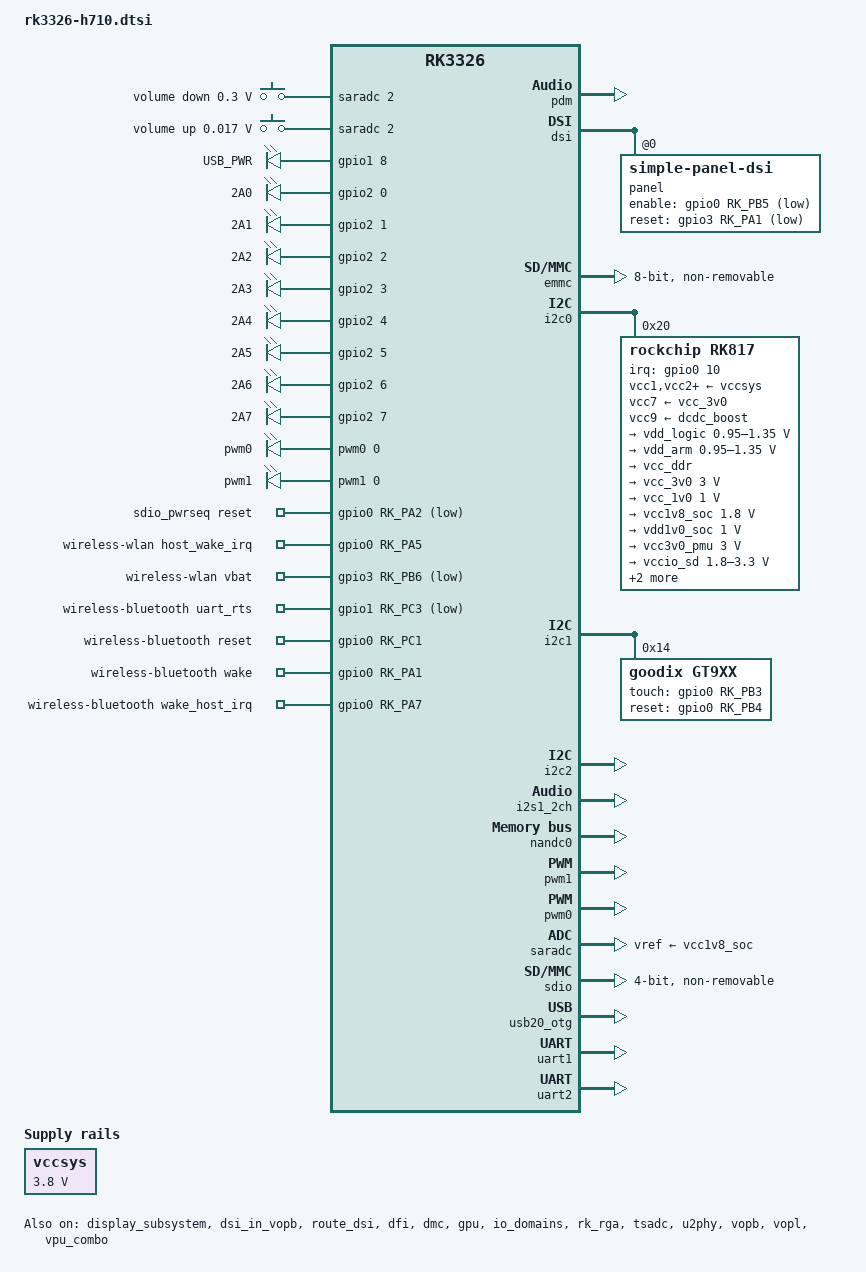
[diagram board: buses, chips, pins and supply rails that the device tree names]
// SPDX-License-Identifier: (GPL-2.0+ OR MIT)
/*
 * Copyright (c) 2017 Fuzhou Rockchip Electronics Co., Ltd
 */

/dts-v1/;
#include <dt-bindings/display/drm_mipi_dsi.h>
#include <dt-bindings/gpio/gpio.h>
#include <dt-bindings/input/input.h>
#include <dt-bindings/pinctrl/rockchip.h>
#include <dt-bindings/sensor-dev.h>
#include "rk3326.dtsi"
//#include "rk3326-863-cif-sensor.dtsi"
#include "px30-android.dtsi"

/ {
	adc-keys {
		compatible = "adc-keys";
		io-channels = <&saradc 2>;
		io-channel-names = "buttons";
		poll-interval = <100>;
		keyup-threshold-microvolt = <1800000>;

		vol-down-key {
			linux,code = <KEY_VOLUMEDOWN>;
			label = "volume down";
			press-threshold-microvolt = <300000>;
		};

		vol-up-key {
			linux,code = <KEY_VOLUMEUP>;
			label = "volume up";
			press-threshold-microvolt = <17000>;
		};
	};

	leds {
                status = "okay";
                compatible = "gpio-leds";
		pinctrl-names = "default";
                pinctrl-0 = <&h710_gpio>;

                USB_PWR {
                        gpios = <&gpio1 8 GPIO_ACTIVE_HIGH>;
                        default-state = "on";
                };

		2A0 {
			gpios = <&gpio2 0 GPIO_ACTIVE_HIGH>;
                        default-state = "on";
		};
		2A1 {
			gpios = <&gpio2 1 GPIO_ACTIVE_HIGH>;
                        default-state = "on";
		};
		2A2 {
			gpios = <&gpio2 2 GPIO_ACTIVE_HIGH>;
                        default-state = "on";
		};
		2A3 {
			gpios = <&gpio2 3 GPIO_ACTIVE_HIGH>;
                        default-state = "on";
		};
		2A4 {
			gpios = <&gpio2 4 GPIO_ACTIVE_HIGH>;
                        default-state = "on";
		};
		2A5 {
			gpios = <&gpio2 5 GPIO_ACTIVE_HIGH>;
                        default-state = "on";
		};
		2A6 {
			gpios = <&gpio2 6 GPIO_ACTIVE_HIGH>;
                        default-state = "on";
		};
		2A7 {
			gpios = <&gpio2 7 GPIO_ACTIVE_HIGH>;
                        default-state = "on";
		};
	};

	pwmleds {
        	compatible = "pwm-leds";
        	led1 {
            		label = "pwm0";
            		pwms = <&pwm0 0 25000 0>;
            		max-brightness = <255>;
        	};
		led2 {
			label = "pwm1";
                        pwms = <&pwm1 0 25000 0>;
                        max-brightness = <255>;
		};
    	};

	backlight: backlight {
		compatible = "pwm-backlight";
		pwms = <&pwm1 0 25000 0>;
		brightness-levels = <
			 0   10  10  11  11  12  12  13
			 13  14  14  15  15  16  16  17
			 17  18  18  19  20  21  22  23
			 24  25  26  27  28  29  30  31
			 32  33  34  35  36  37  38  39
			 40  41  42  43  44  45  46  47
			 48  49  50  51  52  53  54  55
			 56  57  58  59  60  61  62  63
			 64  65  66  67  68  69  70  71
			 72  73  74  75  76  77  78  79
			 80  81  82  83  84  85  86  87
			 88  89  90  91  92  93  94  95
			 96  97  98  99 100 101 102 103
			104 105 106 107 108 109 110 111
			112 113 114 115 116 117 118 119
			120 121 122 123 124 125 126 127
			128 129 130 131 132 133 134 135
			136 137 138 139 140 141 142 143
			144 145 146 147 148 149 150 151
			152 153 154 155 156 157 158 159
			160 161 162 163 164 165 166 167
			168 169 170 171 172 173 174 175
			176 177 178 179 180 181 182 183
			184 185 186 187 188 189 190 191
			192 193 194 195 196 197 198 199
			200 201 202 203 204 205 206 207
			208 209 210 211 212 213 214 215
			216 217 218 219 220 221 222 223
			224 225 226 227 228 229 230 231
			232 233 234 235 236 237 238 239
			240 241 242 243 244 245 246 247
			248 249 250 251 252 253 254 255>;
			default-brightness-level = <200>;
			enable-gpios = <&gpio3 6 GPIO_ACTIVE_HIGH>;
			status = "disabled";
	};

	charge-animation {
		compatible = "rockchip,uboot-charge";
		rockchip,uboot-charge-on = <1>;
		rockchip,android-charge-on = <0>;
		rockchip,uboot-low-power-voltage = <3500>;
		rockchip,screen-on-voltage = <3600>;
		status = "disabled";
	};

	rk817-sound {
		compatible = "simple-audio-card";
		simple-audio-card,format = "i2s";
		simple-audio-card,name = "rockchip-rk817-codec";
		simple-audio-card,mclk-fs = <256>;
		simple-audio-card,widgets =
			"Microphone", "Mic Jack",
			"Headphone", "Headphone Jack";
		simple-audio-card,routing =
			"Mic Jack", "MICBIAS1",
			"IN1P", "Mic Jack",
			"Headphone Jack", "HPOL",
			"Headphone Jack", "HPOR";
		simple-audio-card,dai-link@0 {
			format = "i2s";
			cpu {
				sound-dai = <&i2s1_2ch>;
			};
			codec {
				sound-dai = <&rk817_codec 0>;
			};
		};
		simple-audio-card,dai-link@1 {
			format = "pdm";
			cpu {
				sound-dai = <&pdm>;
			};
			codec {
				sound-dai = <&rk817_codec 1>;
			};
		};
	};

	rk_headset {
		compatible = "rockchip_headset";
		headset_gpio = <&gpio2 RK_PC6 GPIO_ACTIVE_LOW>;
		pinctrl-names = "default";
		pinctrl-0 = <&hp_det>;
		status = "disabled";
	};

	sdio_pwrseq: sdio-pwrseq {
		compatible = "mmc-pwrseq-simple";
		clocks = <&cru SCLK_WIFI_PMU>;
		clock-names = "clk_wifi_pmu";
		pinctrl-names = "default";
		pinctrl-0 = <&wifi_enable_h>;

		/*
		 * On the module itself this is one of these (depending
		 * on the actual card populated):
		 * - SDIO_RESET_L_WL_REG_ON
		 * - PDN (power down when low)
		 */
		reset-gpios = <&gpio0 RK_PA2 GPIO_ACTIVE_LOW>; /* GPIO3_A4 */
	};

	vccsys: vccsys {
		compatible = "regulator-fixed";
		regulator-name = "vcc3v8_sys";
		regulator-always-on;
		regulator-boot-on;
		regulator-min-microvolt = <3800000>;
		regulator-max-microvolt = <3800000>;
	};

	wireless-wlan {
		compatible = "wlan-platdata";
		wifi_chip_type = "ap6335";
		WIFI,host_wake_irq = <&gpio0 RK_PA5 GPIO_ACTIVE_HIGH>;
		WIFI,vbat_gpio = <&gpio3 RK_PB6 GPIO_ACTIVE_LOW>;
		status = "okay";
	};

	wireless-bluetooth {
		compatible = "bluetooth-platdata";
		uart_rts_gpios = <&gpio1 RK_PC3 GPIO_ACTIVE_LOW>;
		pinctrl-names = "default","rts_gpio";
		pinctrl-0 = <&uart1_rts>;
		pinctrl-1 = <&uart1_rts_gpio>;
		BT,reset_gpio = <&gpio0 RK_PC1 GPIO_ACTIVE_HIGH>;
		BT,wake_gpio = <&gpio0 RK_PA1 GPIO_ACTIVE_HIGH>;
		BT,wake_host_irq = <&gpio0 RK_PA7 GPIO_ACTIVE_HIGH>;
		clocks = <&rk817 1>;
		clock-names = "ext_clock";
		status = "okay";
	};
};


&display_subsystem {
	status = "okay";
};

&pdm {
	status = "okay";
	#sound-dai-cells = <0>;
	pinctrl-names = "default";
	pinctrl-0 = <&pdm_clk0m1
		&pdm_clk1
		&pdm_sdi1
		&pdm_sdi2
		&pdm_sdi3>;
};

&dsi {
	status = "okay";
	rockchip,lane-rate = <200>;
	panel@0 {
		compatible = "simple-panel-dsi";
		reg = <0>;
		//backlight = <&backlight>;
		enable-gpios = <&gpio0 RK_PB5 GPIO_ACTIVE_LOW>;
		reset-gpios = <&gpio3 RK_PA1 GPIO_ACTIVE_LOW>;
		prepare-delay-ms = <20>;
		reset-delay-ms = <20>;
		init-delay-ms = <10>;
		enable-delay-ms = <20>;
		disable-delay-ms = <20>;
		unprepare-delay-ms = <20>;

		//width-mm = <108>;
		//height-mm = <172>;

		dsi,flags = <(MIPI_DSI_MODE_VIDEO | MIPI_DSI_MODE_VIDEO_BURST |
			      MIPI_DSI_MODE_LPM | MIPI_DSI_MODE_EOT_PACKET)>;
		dsi,format = <MIPI_DSI_FMT_RGB888>;
		dsi,lanes = <4>;

		panel-init-sequence = [
15 00 02 B0 5A
15 00 02 B1 00
15 00 02 89 01
15 00 02 91 17
15 00 02 B1 03
15 00 02 2C 28
15 00 02 00 B7
15 00 02 01 1B
15 00 02 02 00
15 00 02 03 00
15 00 02 04 00
15 00 02 05 00
15 00 02 06 00
15 00 02 07 00
15 00 02 08 00
15 00 02 09 00
15 00 02 0A 01
15 00 02 0B 01
15 00 02 0C 00
15 00 02 0D 00
15 00 02 0E 24
15 00 02 0F 1C
15 00 02 10 C9
15 00 02 11 60
15 00 02 12 70
15 00 02 13 01
15 00 02 14 E7
15 00 02 15 FF
15 00 02 16 3D
15 00 02 17 0E
15 00 02 18 01
15 00 02 19 00
15 00 02 1A 00
15 00 02 1B FC
15 00 02 1C 0B
15 00 02 1D A0
15 00 02 1E 03
15 00 02 1F 04
15 00 02 20 0C
15 00 02 21 00
15 00 02 22 04
15 00 02 23 81
15 00 02 24 1F
15 00 02 25 10
15 00 02 26 9B
15 00 02 2D 01
15 00 02 2E 84
15 00 02 2F 00
15 00 02 30 02
15 00 02 31 08
15 00 02 32 01
15 00 02 33 1C
15 00 02 34 40
15 00 02 35 FF
15 00 02 36 FF
15 00 02 37 FF
15 00 02 38 FF
15 00 02 39 FF
15 00 02 3A 05
15 00 02 3B 00
15 00 02 3C 00
15 00 02 3D 00
15 00 02 3E CF
15 00 02 3F 84
15 00 02 40 28
15 00 02 41 FC
15 00 02 42 01
15 00 02 43 40
15 00 02 44 05
15 00 02 45 E8
15 00 02 46 16
15 00 02 47 00
15 00 02 48 00
15 00 02 49 88
15 00 02 4A 08
15 00 02 4B 05
15 00 02 4C 03
15 00 02 4D D0
15 00 02 4E 13
15 00 02 4F FF
15 00 02 50 0A
15 00 02 51 53
15 00 02 52 26
15 00 02 53 22
15 00 02 54 09
15 00 02 55 22
15 00 02 56 00
15 00 02 57 1C
15 00 02 58 03
15 00 02 59 3F
15 00 02 5A 28
15 00 02 5B 01
15 00 02 5C CC
15 00 02 5D 21
15 00 02 5E 84
15 00 02 5F 10
15 00 02 60 42
15 00 02 61 40
15 00 02 62 06
15 00 02 63 3A
15 00 02 64 A6
15 00 02 65 04
15 00 02 66 09
15 00 02 67 21
15 00 02 68 84
15 00 02 69 10
15 00 02 6A 42
15 00 02 6B 08
15 00 02 6C 21
15 00 02 6D 84
15 00 02 6E 74
15 00 02 6F E2
15 00 02 70 6B
15 00 02 71 6B
15 00 02 72 94
15 00 02 73 10
15 00 02 74 42
15 00 02 75 08
15 00 02 76 00
15 00 02 77 00
15 00 02 78 0F
15 00 02 79 E0
15 00 02 7A 01
15 00 02 7B FF
15 00 02 7C FF
15 00 02 7D 0F
15 00 02 7E 41
15 00 02 7F FE
15 00 02 B1 02
15 00 02 00 FF
15 00 02 01 05
15 00 02 02 C8
15 00 02 03 00
15 00 02 04 14
15 00 02 05 4B
15 00 02 06 64
15 00 02 07 0A
15 00 02 08 C0
15 00 02 09 00
15 00 02 0A 00
15 00 02 0B 10
15 00 02 0C E6
15 00 02 0D 0D
15 00 02 0F 00
15 00 02 10 F9
15 00 02 11 FB
15 00 02 12 87
15 00 02 13 EF
15 00 02 14 8B
15 00 02 15 EE
15 00 02 16 C5
15 00 02 17 81
15 00 02 18 87
15 00 02 19 B5
15 00 02 1A 71
15 00 02 1B 0E
15 00 02 1C FF
15 00 02 1D FF
15 00 02 1E FF
15 00 02 1F FF
15 00 02 20 FF
15 00 02 21 FF
15 00 02 22 FF
15 00 02 23 FF
15 00 02 24 FF
15 00 02 25 FF
15 00 02 26 FF
15 00 02 27 1F
15 00 02 28 FF
15 00 02 29 FF
15 00 02 2A FF
15 00 02 2B FF
15 00 02 2C FF
15 00 02 2D 07
15 00 02 33 3F
15 00 02 35 7F
15 00 02 36 3F
15 00 02 38 FF
15 00 02 3A 80
15 00 02 3B 01
15 00 02 3C 80
15 00 02 3D 2C
15 00 02 3E 00
15 00 02 3F 90
15 00 02 40 05
15 00 02 41 00
15 00 02 42 B2
15 00 02 43 00
15 00 02 44 40
15 00 02 45 06
15 00 02 46 00
15 00 02 47 00
15 00 02 48 9B
15 00 02 49 D2
15 00 02 4A 21
15 00 02 4B 43
15 00 02 4C 16
15 00 02 4D C0
15 00 02 4E 0F
15 00 02 4F F1
15 00 02 50 78
15 00 02 51 7A
15 00 02 52 34
15 00 02 53 99
15 00 02 54 A2
15 00 02 55 02
15 00 02 56 14
15 00 02 57 B8
15 00 02 58 DC
15 00 02 59 D4
15 00 02 5A EF
15 00 02 5B F7
15 00 02 5C FB
15 00 02 5D FD
15 00 02 5E 7E
15 00 02 5F BF
15 00 02 60 EF
15 00 02 61 E6
15 00 02 62 76
15 00 02 63 73
15 00 02 64 BB
15 00 02 65 DD
15 00 02 66 6E
15 00 02 67 37
15 00 02 68 8C
15 00 02 69 08
15 00 02 6A 31
15 00 02 6B B8
15 00 02 6C B8
15 00 02 6D B8
15 00 02 6E B8
15 00 02 6F B8
15 00 02 70 5C
15 00 02 71 2E
15 00 02 72 17
15 00 02 73 00
15 00 02 74 00
15 00 02 75 00
15 00 02 76 00
15 00 02 77 00
15 00 02 78 00
15 00 02 79 00
15 00 02 7A DC
15 00 02 7B DC
15 00 02 7C DC
15 00 02 7D DC
15 00 02 7E DC
15 00 02 7F 6E
15 00 02 0B 00
15 00 02 B1 03
15 00 02 2C 2C
15 00 02 B1 00
15 00 02 89 03
			05 78 01 11
			05 14 01 29
		];

		panel-exit-sequence = [
			05 00 01 28
			05 00 01 10
		];

		display-timings {
			native-mode = <&timing0>;

			timing0: timing0 {
				clock-frequency = <26000000>;
				hactive = <400>;
				vactive = <1280>;
				hfront-porch = <40>;
				hsync-len = <1>;
				hback-porch = <40>;
				vfront-porch = <30>;
				vsync-len = <10>;
				vback-porch = <30>;
				hsync-active = <0>;
				vsync-active = <0>;
				de-active = <0>;
				pixelclk-active = <0>;
			};
		};
	};
};

&dsi_in_vopb {
	status = "okay";
};

&dsi_in_vopl {
	status = "disabled";
};

&route_dsi {
	connect = <&vopb_out_dsi>;
	status = "okay";
};

&bus_apll {
	bus-supply = <&vdd_logic>;
	status = "okay";
};

&cpu0 {
	cpu-supply = <&vdd_arm>;
};

&cpu0_opp_table {
	/*
	 * max IR-drop values on different freq condition for this board!
	 */
	rockchip,board-irdrop = <
		/*MHz	MHz	uV */
		0	815	37500
		816	1119	50000
		1200	1512	75000
	>;
};

&dmc_opp_table {
	/*
	 * max IR-drop values on different freq condition for this board!
	 */
	rockchip,board-irdrop = <
		/*MHz	MHz	uV */
		451	800	75000
	>;
};

&dfi {
	status = "okay";
};

&dmc {
	center-supply = <&vdd_logic>;
	vop-dclk-mode = <1>;
	status = "okay";
};

&emmc {
	bus-width = <8>;
	cap-mmc-highspeed;
	mmc-hs200-1_8v;
	supports-emmc;
	disable-wp;
	non-removable;
	num-slots = <1>;
	status = "okay";
};

&gpu {
	mali-supply = <&vdd_logic>;
	status = "okay";
};

&i2c0 {
	status = "okay";

	rk817: pmic@20 {
		compatible = "rockchip,rk817";
		reg = <0x20>;
		interrupt-parent = <&gpio0>;
		interrupts = <10 IRQ_TYPE_LEVEL_LOW>;
		pinctrl-names = "default", "pmic-sleep",
				"pmic-power-off", "pmic-reset";
		pinctrl-0 = <&pmic_int>;
		pinctrl-1 = <&soc_slppin_slp>, <&rk817_slppin_slp>;
		pinctrl-2 = <&soc_slppin_gpio>, <&rk817_slppin_pwrdn>;
		pinctrl-3 = <&soc_slppin_rst>, <&rk817_slppin_rst>;
		rockchip,system-power-controller;
		wakeup-source;
		#clock-cells = <1>;
		clock-output-names = "rk808-clkout1", "rk808-clkout2";
		//fb-inner-reg-idxs = <2>;
		/* 1: rst regs (default in codes), 0: rst the pmic */
		pmic-reset-func = <1>;

		vcc1-supply = <&vccsys>;
		vcc2-supply = <&vccsys>;
		vcc3-supply = <&vccsys>;
		vcc4-supply = <&vccsys>;
		vcc5-supply = <&vccsys>;
		vcc6-supply = <&vccsys>;
		vcc7-supply = <&vcc_3v0>;
		vcc8-supply = <&vccsys>;
		vcc9-supply = <&dcdc_boost>;

		pwrkey {
			status = "okay";
		};

		pinctrl_rk8xx: pinctrl_rk8xx {
			gpio-controller;
			#gpio-cells = <2>;

			rk817_ts_gpio1: rk817_ts_gpio1 {
				pins = "gpio_ts";
				function = "pin_fun1";
				/* output-low; */
				/* input-enable; */
			};

			rk817_gt_gpio2: rk817_gt_gpio2 {
				pins = "gpio_gt";
				function = "pin_fun1";
			};

			rk817_pin_ts: rk817_pin_ts {
				pins = "gpio_ts";
				function = "pin_fun0";
			};

			rk817_pin_gt: rk817_pin_gt {
				pins = "gpio_gt";
				function = "pin_fun0";
			};

			rk817_slppin_null: rk817_slppin_null {
				pins = "gpio_slp";
				function = "pin_fun0";
			};

			rk817_slppin_slp: rk817_slppin_slp {
				pins = "gpio_slp";
				function = "pin_fun1";
			};

			rk817_slppin_pwrdn: rk817_slppin_pwrdn {
				pins = "gpio_slp";
				function = "pin_fun2";
			};

			rk817_slppin_rst: rk817_slppin_rst {
				pins = "gpio_slp";
				function = "pin_fun3";
			};
		};

		regulators {
			vdd_logic: DCDC_REG1 {
				regulator-always-on;
				regulator-boot-on;
				regulator-min-microvolt = <950000>;
				regulator-max-microvolt = <1350000>;
				regulator-ramp-delay = <6001>;
				regulator-initial-mode = <0x2>;
				regulator-name = "vdd_logic";
				regulator-state-mem {
					regulator-on-in-suspend;
					regulator-suspend-microvolt = <950000>;
				};
			};

			vdd_arm: DCDC_REG2 {
				regulator-always-on;
				regulator-boot-on;
				regulator-min-microvolt = <950000>;
				regulator-max-microvolt = <1350000>;
				regulator-ramp-delay = <6001>;
				regulator-initial-mode = <0x2>;
				regulator-name = "vdd_arm";
				regulator-state-mem {
					regulator-off-in-suspend;
					regulator-suspend-microvolt = <950000>;
				};
			};

			vcc_ddr: DCDC_REG3 {
				regulator-always-on;
				regulator-boot-on;
				regulator-initial-mode = <0x2>;
				regulator-name = "vcc_ddr";
				regulator-state-mem {
					regulator-on-in-suspend;
				};
			};

			vcc_3v0: DCDC_REG4 {
				regulator-always-on;
				regulator-boot-on;
				regulator-min-microvolt = <3000000>;
				regulator-max-microvolt = <3000000>;
				regulator-initial-mode = <0x2>;
				regulator-name = "vcc_3v0";
				regulator-state-mem {
					regulator-on-in-suspend;
					regulator-suspend-microvolt = <3000000>;
				};
			};

			vcc_1v0: LDO_REG1 {
				regulator-always-on;
				regulator-boot-on;
				regulator-min-microvolt = <1000000>;
				regulator-max-microvolt = <1000000>;
				regulator-name = "vcc_1v0";
				regulator-state-mem {
					regulator-on-in-suspend;
					regulator-suspend-microvolt = <1000000>;
				};
			};

			vcc1v8_soc: LDO_REG2 {
				regulator-always-on;
				regulator-boot-on;
				regulator-min-microvolt = <1800000>;
				regulator-max-microvolt = <1800000>;

				regulator-name = "vcc1v8_soc";
				regulator-state-mem {
					regulator-on-in-suspend;
					regulator-suspend-microvolt = <1800000>;
				};
			};

			vdd1v0_soc: LDO_REG3 {
				regulator-always-on;
				regulator-boot-on;
				regulator-min-microvolt = <1000000>;
				regulator-max-microvolt = <1000000>;

				regulator-name = "vcc1v0_soc";
				regulator-state-mem {
					regulator-on-in-suspend;
					regulator-suspend-microvolt = <1000000>;
				};
			};

			vcc3v0_pmu: LDO_REG4 {
				regulator-always-on;
				regulator-boot-on;
				regulator-min-microvolt = <3000000>;
				regulator-max-microvolt = <3000000>;

				regulator-name = "vcc3v0_pmu";
				regulator-state-mem {
					regulator-on-in-suspend;
					regulator-suspend-microvolt = <3000000>;

				};
			};

			vccio_sd: LDO_REG5 {
				regulator-always-on;
				regulator-boot-on;
				regulator-min-microvolt = <1800000>;
				regulator-max-microvolt = <3300000>;

				regulator-name = "vccio_sd";
				regulator-state-mem {
					regulator-on-in-suspend;
					regulator-suspend-microvolt = <3300000>;
				};
			};

			vcc_sd: LDO_REG6 {
				regulator-min-microvolt = <3300000>;
				regulator-max-microvolt = <3300000>;

				regulator-name = "vcc_sd";
				regulator-state-mem {
					regulator-on-in-suspend;
					regulator-suspend-microvolt = <3300000>;

				};
			};

			vcc2v8_dvp: LDO_REG7 {
				regulator-boot-on;
				regulator-always-on;
				regulator-min-microvolt = <2800000>;
				regulator-max-microvolt = <2800000>;

				regulator-name = "vcc2v8_dvp";
				regulator-state-mem {
					regulator-off-in-suspend;
					regulator-suspend-microvolt = <2800000>;
				};
			};

			vcc1v8_dvp: LDO_REG8 {
				regulator-boot-on;
				regulator-always-on;
				regulator-min-microvolt = <1800000>;
				regulator-max-microvolt = <1800000>;

				regulator-name = "vcc1v8_dvp";
				regulator-state-mem {
					regulator-off-in-suspend;
					regulator-suspend-microvolt = <1800000>;
				};
			};

			vdd1v5_dvp: LDO_REG9 {
				regulator-boot-on;
				regulator-always-on;
				regulator-min-microvolt = <1500000>;
				regulator-max-microvolt = <1500000>;

				regulator-name = "vdd1v5_dvp";
				regulator-state-mem {
					regulator-off-in-suspend;
					regulator-suspend-microvolt = <1500000>;
				};
			};

			dcdc_boost: BOOST {
				regulator-always-on;
				regulator-boot-on;
				regulator-min-microvolt = <4700000>;
				regulator-max-microvolt = <5400000>;
				regulator-name = "boost";
			};

			otg_switch: OTG_SWITCH {
				regulator-boot-on;
				regulator-name = "otg_switch";
			};
		};

		battery {
			compatible = "rk817,battery";
			ocv_table = <3500 3548 3592 3636 3687 3740 3780
				3806 3827 3846 3864 3889 3929 3964
				3993 4015 4030 4041 4056 4076 4148>;
			design_capacity = <4000>;
			design_qmax = <4200>;
			bat_res = <100>;
			sleep_enter_current = <150>;
			sleep_exit_current = <180>;
			sleep_filter_current = <100>;
			power_off_thresd = <3500>;
			zero_algorithm_vol = <3850>;
			max_soc_offset = <60>;
			monitor_sec = <5>;
			sample_res = <10>;
			virtual_power = <0>;
		};

		charger {
			compatible = "rk817,charger";
			min_input_voltage = <4500>;
			max_input_current = <1500>;
			max_chrg_current = <2000>;
			max_chrg_voltage = <4200>;
			chrg_term_mode = <0>;
			chrg_finish_cur = <300>;
			virtual_power = <0>;
			dc_det_adc = <0>;
			extcon = <&u2phy>;
		};

		rk817_codec: codec {
			#sound-dai-cells = <0>;
			compatible = "rockchip,rk817-codec";
			clocks = <&cru SCLK_I2S1_OUT>;
			clock-names = "mclk";
			pinctrl-names = "default";
			pinctrl-0 = <&i2s1_2ch_mclk>;
			pdmdata-out-enable;
			adc-for-loopback;
			use-ext-amplifier;
			hp-volume = <20>;
			spk-volume = <3>;
			spk-ctl-gpios = <&gpio1 RK_PB4 GPIO_ACTIVE_LOW>;
			status = "okay";
		};
	};
};

&i2c1 {
	status = "okay";

	gt9xx: gt9xx@14 {
                compatible = "goodix,gt9xx";
		pinctrl-names = "default";
                pinctrl-0 = <&touch_int &touch_rst>;
                reg = <0x14>;
                touch-gpio = <&gpio0 RK_PB3 IRQ_TYPE_LEVEL_LOW>;
                reset-gpio = <&gpio0 RK_PB4 GPIO_ACTIVE_HIGH>;
                max-x = <1280>;
                max-y = <400>;
                tp-size = <970>;
		status = "okay";
        };
};

&i2c2 {
	status = "okay";
};

&i2s1_2ch {
	status = "okay";
	#sound-dai-cells = <0>;
};

&io_domains {
	status = "okay";

	vccio1-supply = <&vcc_3v0>;
	vccio2-supply = <&vccio_sd>;
	vccio3-supply = <&vcc1v8_dvp>;
	vccio4-supply = <&vcc_3v0>;
	vccio5-supply = <&vcc_3v0>;
};

&nandc0 {
	status = "okay";
};

&pinctrl {
	headphone {
		hp_det: hp-det {
			rockchip,pins = <2 RK_PC6 RK_FUNC_GPIO &pcfg_pull_up>;
		};
	};

	pmic {
		pmic_int: pmic_int {
			rockchip,pins =
				<0 RK_PB2 RK_FUNC_GPIO &pcfg_pull_up>;
		};

		soc_slppin_gpio: soc_slppin_gpio {
			rockchip,pins =
				<0 RK_PA4 RK_FUNC_GPIO &pcfg_output_low>;
		};

		soc_slppin_slp: soc_slppin_slp {
			rockchip,pins =
				<0 RK_PA4 RK_FUNC_1 &pcfg_pull_none>;
		};

		soc_slppin_rst: soc_slppin_rst {
			rockchip,pins =
				<0 RK_PA4 RK_FUNC_2 &pcfg_pull_none>;
		};
	};

	sdio-pwrseq {
		wifi_enable_h: wifi-enable-h {
			rockchip,pins = <0 RK_PA2 RK_FUNC_GPIO &pcfg_pull_none>;
		};
	};

	h710 {
		touch_int: touch-int {
			rockchip,pins = <0 RK_PB3 RK_FUNC_GPIO &pcfg_pull_none>;
		};
		touch_rst: touch-rst {
			rockchip,pins = <0 RK_PB4 RK_FUNC_GPIO &pcfg_pull_none>;
		};

		h710_gpio: h710-gpio {
                                rockchip,pins =
                                        <2 RK_PA0 RK_FUNC_GPIO &pcfg_pull_up_12ma>,/* cif_data2 */
                                        <2 RK_PA1 RK_FUNC_GPIO &pcfg_pull_none>,/* cif_data3 */
                                        <2 RK_PA2 RK_FUNC_GPIO &pcfg_pull_none>,/* cif_data4 */
                                        <2 RK_PA3 RK_FUNC_GPIO &pcfg_pull_none>,/* cif_data5 */
                                        <2 RK_PA4 RK_FUNC_GPIO &pcfg_pull_none>,/* cif_data6 */
                                        <2 RK_PA5 RK_FUNC_GPIO &pcfg_pull_none>,/* cif_data7 */
                                        <2 RK_PA6 RK_FUNC_GPIO &pcfg_pull_none>,/* cif_data8 */
                                        <2 RK_PA7 RK_FUNC_GPIO &pcfg_pull_none>;/* cif_data9 */
                        };
	};
};

&pmu_io_domains {
	status = "okay";

	pmuio1-supply = <&vcc3v0_pmu>;
	pmuio2-supply = <&vcc3v0_pmu>;
};

&pwm1 {
	status = "okay";
};

&pwm0 {
	status = "okay";
};

&rk_rga {
	status = "okay";
};

&rockchip_suspend {
	status = "okay";
	rockchip,sleep-debug-en = <1>;
};

&saradc {
	status = "okay";
	vref-supply = <&vcc1v8_soc>;
};

&sdmmc {
	bus-width = <4>;
	cap-mmc-highspeed;
	cap-sd-highspeed;
	supports-sd;
	card-detect-delay = <800>;
	ignore-pm-notify;
	sd-uhs-sdr12;
	sd-uhs-sdr25;
	sd-uhs-sdr50;
	sd-uhs-sdr104;
	vqmmc-supply = <&vccio_sd>;
	vmmc-supply = <&vcc_sd>;
	status = "disabled";
};

&sdio {
	bus-width = <4>;
	cap-sd-highspeed;
	supports-sdio;
	ignore-pm-notify;
	keep-power-in-suspend;
	non-removable;
	mmc-pwrseq = <&sdio_pwrseq>;
	sd-uhs-sdr104;
	status = "okay";
};

&tsadc {
	pinctrl-names = "gpio", "otpout";
	pinctrl-0 = <&tsadc_otp_gpio>;
	pinctrl-1 = <&tsadc_otp_out>;
	status = "okay";
};

&u2phy {
	status = "okay";

	u2phy_host: host-port {
		rockchip,low-power-mode;
		status = "okay";
	};

	u2phy_otg: otg-port {
		rockchip,low-power-mode;
		status = "okay";
	};
};

&usb20_otg {
	status = "okay";
};

&uart1 {
	pinctrl-names = "default";
	pinctrl-0 = <&uart1_xfer &uart1_cts>;
	status = "okay";
};

&uart2 {
	status = "okay";
};

&vip_mmu {
	status = "okay";
};

&vopb {
	status = "okay";
};

&vopb_mmu {
	status = "okay";
};

&vopl {
	status = "okay";
};

&vopl_mmu {
	status = "okay";
};

&vpu_combo {
	status = "okay";
};
